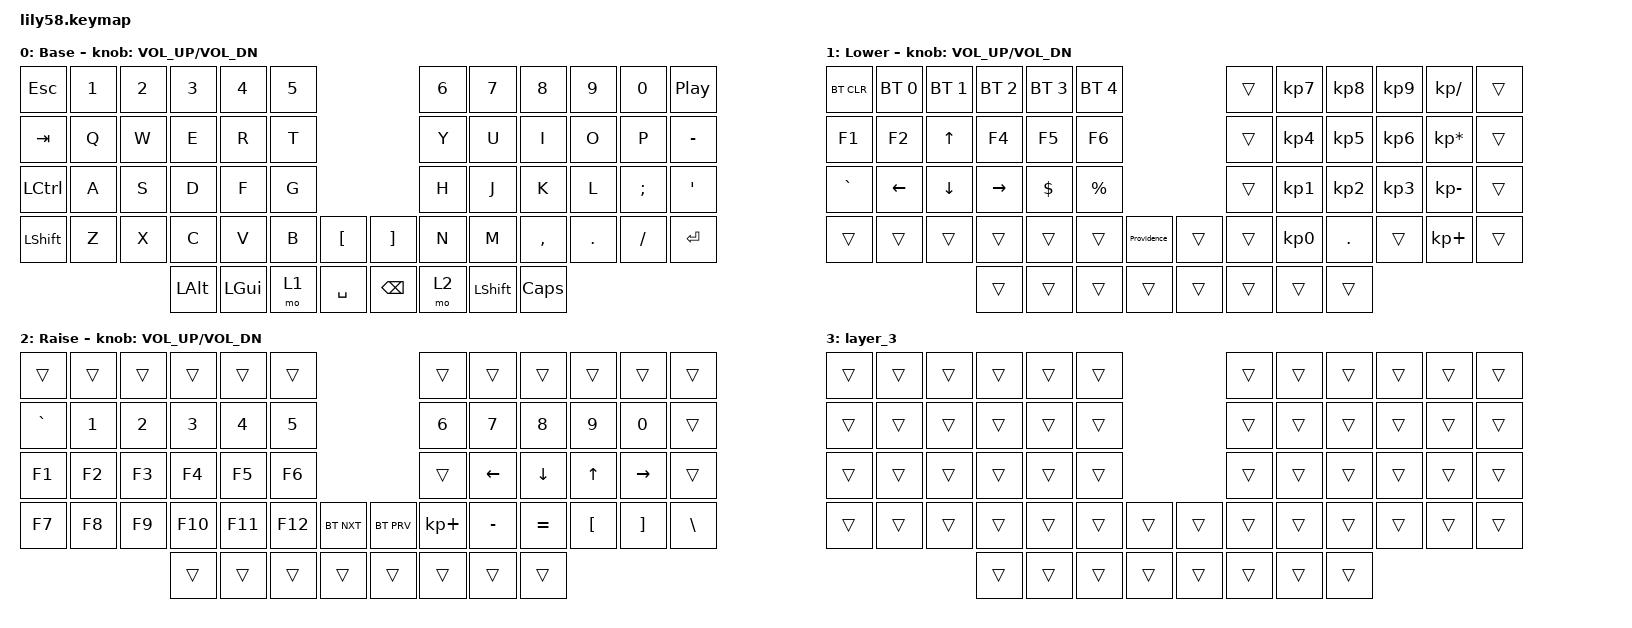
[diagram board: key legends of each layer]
/*
 * Copyright (c) 2020 The ZMK Contributors
 *
 * SPDX-License-Identifier: MIT
 */

#include <behaviors.dtsi>
#include <dt-bindings/zmk/bt.h>
#include <dt-bindings/zmk/keys.h>

/ {
    macros {
        Providence: Providence {
            compatible = "zmk,behavior-macro";
            #binding-cells = <0>;
            bindings = <&none &kp LS(T) &kp H &kp E &kp LS(F) &kp U &kp N &kp LS(P) &kp O &kp L &kp I &kp C &kp E &kp N2 &kp N0 &kp N1 &kp N7 &kp EXCL>;
            label = "PROVIDENCE";
        };
    };

    keymap {
        compatible = "zmk,keymap";

        default_layer {
            // ------------------------------------------------------------------------------------------------------------
            // |  ESC  |  1  |  2  |  3   |  4   |  5   |                   |  6   |  7    |  8    |  9   |   0   |   `   |
            // |  TAB  |  Q  |  W  |  E   |  R   |  T   |                   |  Y   |  U    |  I    |  O   |   P   |   -   |
            // |  CTRL |  A  |  S  |  D   |  F   |  G   |                   |  H   |  J    |  K    |  L   |   ;   |   '   |
            // | SHIFT |  Z  |  X  |  C   |  V   |  B   |   "["  |  |  "]"  |  N   |  M    |  ,    |  .   |   /   | SHIFT |
            //                     | ALT  | GUI  | LOWER|  SPACE |  | ENTER | RAISE| BSPC  | GUI   |

            display-name = "Base";
            bindings = <
&kp ESC    &kp N1  &kp N2  &kp N3    &kp N4    &kp N5                              &kp N6  &kp N7          &kp N8        &kp N9   &kp N0    &kp C_PLAY_PAUSE
&kp TAB    &kp Q   &kp W   &kp E     &kp R     &kp T                               &kp Y   &kp U           &kp I         &kp O    &kp P     &kp MINUS
&kp LCTRL  &kp A   &kp S   &kp D     &kp F     &kp G                               &kp H   &kp J           &kp K         &kp L    &kp SEMI  &kp SQT
&kp LSHFT  &kp Z   &kp X   &kp C     &kp V     &kp B   &kp LBKT     &kp RBKT       &kp N   &kp M           &kp COMMA     &kp DOT  &kp FSLH  &kp ENTER
                           &kp LALT  &kp LGUI  &mo 1   &kp SPACE    &kp BACKSPACE  &mo 2   &kp LEFT_SHIFT  &kp CAPSLOCK
            >;

            sensor-bindings = <&inc_dec_kp C_VOL_UP C_VOL_DN>;
        };

        lower_layer {
            // ------------------------------------------------------------------------------------------------------------
            // | BTCLR | BT1 | BT2 |  BT3 |  BT4 |  BT5 |                   |      |       |       |      |       |       |
            // |  F1   |  F2 |  F3 |  F4  |  F5  |  F6  |                   |  F7  |  F8   |  F9   |  F10 |  F11  |  F12  |
            // |   `   |  !  |  @  |  #   |  $   |  %   |                   |  ^   |  &    |  *    |  (   |   )   |   ~   |
            // |       |     |     |      |      |      |        |  |       |      |  _    |  +    |  {   |   }   |  "|"  |
            //                     |      |      |      |        |  |       |      |       |       |

            display-name = "Lower";
            bindings = <
&bt BT_CLR  &bt BT_SEL 0    &bt BT_SEL 1    &bt BT_SEL 2     &bt BT_SEL 3  &bt BT_SEL 4                         &trans  &kp KP_NUMBER_7  &kp KP_NUMBER_8  &kp KP_NUMBER_9  &kp KP_DIVIDE    &trans
&kp F1      &kp F2          &kp UP_ARROW    &kp F4           &kp F5        &kp F6                               &trans  &kp KP_NUMBER_4  &kp KP_NUMBER_5  &kp KP_NUMBER_6  &kp KP_MULTIPLY  &trans
&kp GRAVE   &kp LEFT_ARROW  &kp DOWN_ARROW  &kp RIGHT_ARROW  &kp DOLLAR    &kp PRCNT                            &trans  &kp KP_NUMBER_1  &kp KP_NUMBER_2  &kp KP_NUMBER_3  &kp KP_MINUS     &trans
&trans      &trans          &trans          &trans           &trans        &trans        &Providence    &trans  &trans  &kp KP_NUMBER_0  &kp PERIOD       &trans           &kp KP_PLUS      &trans
                                            &trans           &trans        &trans        &trans         &trans  &trans  &trans           &trans
            >;

            sensor-bindings = <&inc_dec_kp C_VOL_UP C_VOL_DN>;
        };

        raise_layer {
            // ------------------------------------------------------------------------------------------------------------
            // |       |     |     |      |      |      |                   |      |       |       |      |       |       |
            // |   `   |  1  |  2  |  3   |  4   |  5   |                   |  6   |   7   |   8   |  9   |   0   |       |
            // |   F1  |  F2 |  F3 |  F4  |  F5  |  F6  |                   |      |   <-  |   v   |  ^   |  ->   |       |
            // |   F7  |  F8 |  F9 |  F10 |  F11 |  F12 |        |  |       |  +   |   -   |   =   |  [   |   ]   |   \   |
            //                     |      |      |      |        |  |       |      |       |       |

            display-name = "Raise";
            bindings = <
&trans     &trans  &trans  &trans   &trans   &trans                             &trans       &trans     &trans     &trans    &trans     &trans
&kp GRAVE  &kp N1  &kp N2  &kp N3   &kp N4   &kp N5                             &kp N6       &kp N7     &kp N8     &kp N9    &kp N0     &trans
&kp F1     &kp F2  &kp F3  &kp F4   &kp F5   &kp F6                             &trans       &kp LEFT   &kp DOWN   &kp UP    &kp RIGHT  &trans
&kp F7     &kp F8  &kp F9  &kp F10  &kp F11  &kp F12  &bt BT_NXT    &bt BT_PRV  &kp KP_PLUS  &kp MINUS  &kp EQUAL  &kp LBKT  &kp RBKT   &kp BSLH
                           &trans   &trans   &trans   &trans        &trans      &trans       &trans     &trans
            >;

            sensor-bindings = <&inc_dec_kp C_VOL_UP C_VOL_DN>;
        };

        layer_3 {
            bindings = <
&trans  &trans  &trans  &trans  &trans  &trans                    &trans  &trans  &trans  &trans  &trans  &trans
&trans  &trans  &trans  &trans  &trans  &trans                    &trans  &trans  &trans  &trans  &trans  &trans
&trans  &trans  &trans  &trans  &trans  &trans                    &trans  &trans  &trans  &trans  &trans  &trans
&trans  &trans  &trans  &trans  &trans  &trans  &trans    &trans  &trans  &trans  &trans  &trans  &trans  &trans
                        &trans  &trans  &trans  &trans    &trans  &trans  &trans  &trans
            >;
        };
    };
};
